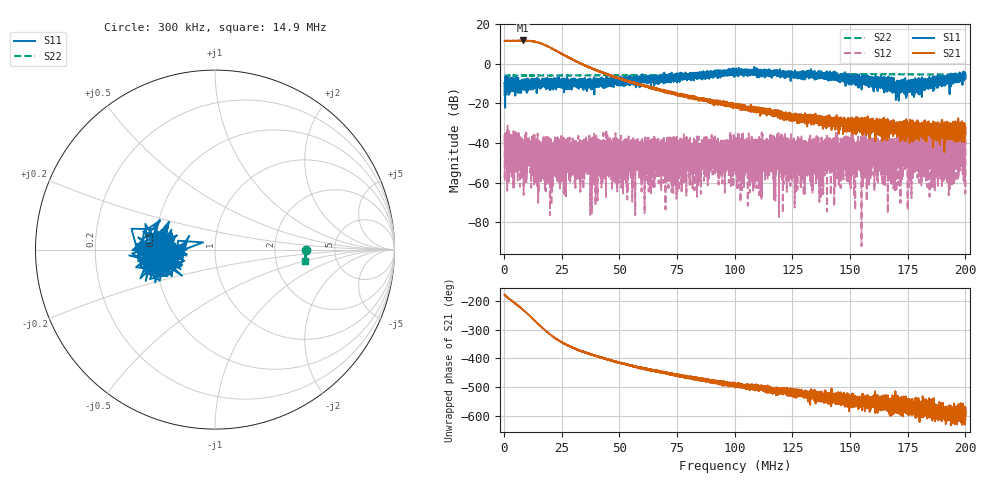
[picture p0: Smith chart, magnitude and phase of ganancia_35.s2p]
# Hz S DB R 50
! CMT, M5065, 19127446, 24.2.4/2
! Date: 10/29/2024 12:34:36 PM
! Data: Format (Calibration Info)
! Freq	S11:dB/Ang(F2)	S21:dB/Ang(F2)	S12:dB/Ang(F2)	S22:dB/Ang(F2)
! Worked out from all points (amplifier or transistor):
!   9000 points, 300 kHz to 200 MHz, reference 50 ohm
!   highest |S21| = 11.8 dB at 8.289 MHz (marker M1)
!   |S21| within 3 dB of that: start of sweep to 19.04 MHz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
!   unconditionally stable (mu >= 1): start of sweep to end of sweep
!   at 33.59 MHz: K = 38.79, MAG = 1.8 dB, |S12| = -41.6 dB
!   at 100.2 MHz: K = 1234.47, MAG = -17.6 dB, |S12| = -53.4 dB
!   at 200 MHz: K = 1374.36, MAG = -33.0 dB, |S12| = -38.1 dB
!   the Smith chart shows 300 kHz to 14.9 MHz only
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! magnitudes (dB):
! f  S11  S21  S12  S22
! 300 kHz  -9.8  11.6  -39.1  -5.9
! 8.289 MHz  -11.6  11.8  -46.8  -6.0
! 11.82 MHz  -10.2  11.5  -62.5  -5.9
! 13.99 MHz  -10.1  11.0  -41.8  -5.9
! 16.28 MHz  -10.4  10.2  -44.3  -5.9
! 20.23 MHz  -8.5  8.1  -48.2  -6.0
! 22.51 MHz  -9.1  6.6  -42.4  -5.9
! 33.59 MHz  -8.5  -0.1  -41.6  -5.9
! 66.87 MHz  -6.8  -13.3  -41.6  -5.7
! 82.7 MHz  -5.0  -16.4  -41.7  -5.6
! 86.69 MHz  -6.9  -18.1  -59.1  -5.7
! 89 MHz  -5.9  -18.0  -52.2  -5.6
! 90.91 MHz  -4.7  -19.1  -40.1  -5.7
! 100.2 MHz  -4.7  -20.8  -53.4  -5.6
! 133.4 MHz  -5.3  -27.7  -46.6  -5.4
! 166.7 MHz  -7.7  -32.8  -47.4  -5.3
! 170.4 MHz  -12.4  -31.1  -36.8  -5.3
! 186.2 MHz  -9.8  -36.5  -44.1  -5.4
! 187.5 MHz  -7.9  -32.3  -42.8  -5.4
! 194.1 MHz  -8.7  -31.6  -37.2  -5.5
! 199 MHz  -6.9  -34.0  -44.6  -5.5
! 200 MHz  -7.3  -35.3  -38.1  -5.5
